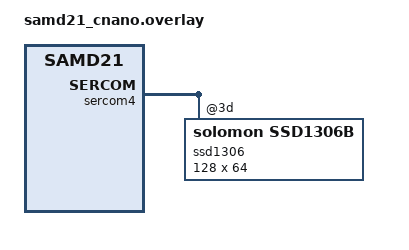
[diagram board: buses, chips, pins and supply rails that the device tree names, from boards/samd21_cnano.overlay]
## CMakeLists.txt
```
cmake_minimum_required(VERSION 3.28.0)

find_package(Zephyr)
project(snake_game)

target_sources(app PRIVATE src/main.c)
```

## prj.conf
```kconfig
CONFIG_I2C=y
CONFIG_DISPLAY=y
CONFIG_CHARACTER_FRAMEBUFFER=y
CONFIG_HEAP_MEM_POOL_SIZE=8192
CONFIG_TEST_RANDOM_GENERATOR=y
CONFIG_TIMER_RANDOM_GENERATOR=y
CONFIG_MAIN_STACK_SIZE=4000
```

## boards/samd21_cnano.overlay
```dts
/ {
	chosen {
		zephyr,display = &ssd1306;
	};

	aliases {
		i2c-controller = &sercom4;
	};
};

&sercom4 {
	ssd1306: ssd1306@3d {
		compatible = "solomon,ssd1306b";
		reg = <0x3d>;
		segment-offset = <0>;
		page-offset = <0>;
		display-offset = <0>;
		multiplex-ratio = <63>;
		prechargep = <0x22>;
		height = <64>;
		width = <128>;
		segment-remap;
		com-invdir;
	};
};
```

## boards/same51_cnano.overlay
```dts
/ {
	chosen {
		zephyr,display = &ssd1306;
	};

	aliases {
		i2c-controller = &sercom2;
	};
};

&sercom2 {
	ssd1306: ssd1306@3d {
		compatible = "solomon,ssd1306b";
		reg = <0x3d>;
		segment-offset = <0>;
		page-offset = <0>;
		display-offset = <0>;
		multiplex-ratio = <63>;
		prechargep = <0x22>;
		height = <64>;
		width = <128>;
		segment-remap;
		com-invdir;
	};
};
```

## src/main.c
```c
#include <stdbool.h>
#include <stddef.h>
#include <stdint.h>
#include <stdlib.h>
#include <zephyr/devicetree.h>
#include <zephyr/display/cfb.h>
#include <zephyr/drivers/i2c.h>
#include <zephyr/kernel.h>
#include <zephyr/random/random.h>
#include <zephyr/sleep.h>

#define IO_EXPANDER_I2C_ADDRESS (0x24)

#define IO_EXPANDER_GPIO_REGISTER (0x9)
#define IO_EXPANDER_GPPU_REGISTER (0x6)

#define IO_EXPANDER_GPIO_JOYSTICK_UP (0)
#define IO_EXPANDER_GPIO_JOYSTICK_LEFT (1)
#define IO_EXPANDER_GPIO_JOYSTICK_DOWN (2)
#define IO_EXPANDER_GPIO_JOYSTICK_RIGHT (3)
#define IO_EXPANDER_GPIO_JOYSTICK_PUSH (4)

struct node {
	uint8_t next;
	uint8_t x;
	uint8_t y;
};

uint8_t on_snake(struct node *nodes, uint8_t head, int x, int y) {
	uint8_t n = head;
	uint8_t on_snake;
	do {
		on_snake = nodes[n].x == x && nodes[n].y == y;
		n = nodes[n].next;
	} while (n != head && !on_snake);
	return on_snake;
}

void new_dot(struct node *nodes, uint8_t head, int width, int height, int *x, int *y) {
	*x = sys_rand32_get() % width;
	*y = sys_rand32_get() % height;

	for (int i = 0; i < width * height - 1 && on_snake(nodes, head, *x, *y); i++) {
		*x = (*x + 1) % width;
		*y = (*y + (*x == 0)) % height;
	}
}

int main(void)
{
	const struct device *display = DEVICE_DT_GET(DT_CHOSEN(zephyr_display));
	const struct device *i2c_controller = DEVICE_DT_GET(DT_ALIAS(i2c_controller));

	if (!device_is_ready(display)) {
		return 0;
	}

	cfb_framebuffer_init(display);

	if (cfb_framebuffer_set_font(display, 0)) {
		return 0;
	}

	uint8_t font_width, font_height;

	if (cfb_get_font_size(display, 0, &font_width, &font_height)) {
		return 0;
	}

	if (!device_is_ready(i2c_controller)) {
		return 0;
	}

	if (i2c_reg_write_byte(i2c_controller, IO_EXPANDER_I2C_ADDRESS, IO_EXPANDER_GPPU_REGISTER, ~0)) {
		return 0;
	}


	int width_pixels = cfb_get_display_parameter(display, CFB_DISPLAY_WIDTH);
	int height_pixels = cfb_get_display_parameter(display, CFB_DISPLAY_HEIGHT);

init:
	uint8_t pixels = 8;
	int width = width_pixels / pixels;
	int height = height_pixels / pixels;

	uint8_t length = 3;
#define MAX_NODES 128
	struct node nodes[MAX_NODES];

	uint8_t head = 0;
	nodes[head].x = 0;
	nodes[head].y = height / 2;
	for (size_t i = 1; i < length; i++) {
		nodes[head].next = i;

		head = nodes[head].next;
		nodes[head].x = i;
		nodes[head].y = height / 2;
	}

	nodes[head].next = 0;

	enum snake_direction {
		SNAKE_UP,
		SNAKE_LEFT,
		SNAKE_DOWN,
		SNAKE_RIGHT,
	};
	enum snake_direction snake_direction = SNAKE_RIGHT;

	int dot_x;
	int dot_y;

	new_dot(nodes, head, width, height, &dot_x, &dot_y);

	uint8_t game_over = 0;
	uint16_t score = 0;

	while (1) {
		uint8_t up = 0;
		uint8_t left = 0;
		uint8_t right = 0;
		uint8_t down = 0;
		uint8_t push = 0;

		for (int i = 0; i < 8; i++) {
			uint8_t io_gpio_register;

			if (i2c_reg_read_byte(i2c_controller, IO_EXPANDER_I2C_ADDRESS, IO_EXPANDER_GPIO_REGISTER, &io_gpio_register)) {
				return 0;
			}

			up |= !(io_gpio_register & (1 << IO_EXPANDER_GPIO_JOYSTICK_UP));
			left |= !(io_gpio_register & (1 << IO_EXPANDER_GPIO_JOYSTICK_LEFT));
			right |= !(io_gpio_register & (1 << IO_EXPANDER_GPIO_JOYSTICK_RIGHT));
			down |= !(io_gpio_register & (1 << IO_EXPANDER_GPIO_JOYSTICK_DOWN));
			push |= !(io_gpio_register & (1 << IO_EXPANDER_GPIO_JOYSTICK_PUSH));

			k_sleep(K_MSEC(25));
		}

		if (game_over) {
			if (push) {
				goto init;
			}
		} else {
			if (up && snake_direction != SNAKE_DOWN) {
				snake_direction = SNAKE_UP;
			} else if (left && snake_direction != SNAKE_RIGHT) {
				snake_direction = SNAKE_LEFT;
			} else if (right && snake_direction != SNAKE_LEFT) {
				snake_direction = SNAKE_RIGHT;
			} else if (down && snake_direction != SNAKE_UP) {
				snake_direction = SNAKE_DOWN;
			}

			int8_t offset_x = 0;
			int8_t offset_y = 0;
			switch (snake_direction) {
				case SNAKE_UP:
					offset_y = -1;
					break;
				case SNAKE_DOWN:
					offset_y = 1;
					break;
				case SNAKE_LEFT:
					offset_x = -1;
					break;
				case SNAKE_RIGHT:
					offset_x = 1;
					break;
			}

			int head_x = nodes[head].x + offset_x;
			int head_y = nodes[head].y + offset_y;

			if (on_snake(nodes, head, head_x, head_y) || head_x == -1 || head_x == width || head_y == -1 || head_y == height) {
				game_over = 1;
			} else {
				if (head_x == dot_x && head_y == dot_y) {
					if (length < MAX_NODES) {
						nodes[length].next = nodes[head].next;
						nodes[head].next = length;
						length++;
					}

					new_dot(nodes, head, width, height,  &dot_x, &dot_y);

					score++;
				}

				head = nodes[head].next;
				nodes[head].x = head_x;
				nodes[head].y = head_y;
			}
		}

		cfb_framebuffer_clear(display, false);

		if (game_over) {
			cfb_draw_text(display, "GAME OVER", 0, font_height * 0);

			char line[13];
			snprintf(line, 13, "Score: %hu", score);
			cfb_draw_text(display, line, 0, font_height * 1);
		} else {
			char line[13];
			snprintf(line, 13, "%hu", score);
			cfb_draw_text(display, line, 0, 0);

			uint8_t n = head;
			do {
				for (uint8_t y = 0; y < pixels; y++) {
					for (uint8_t x = 0; x < pixels; x++) {
						struct cfb_position position = {
							.x = nodes[n].x * pixels + x,
							.y = nodes[n].y * pixels + y,
						};
						cfb_draw_point(display, &position);
					}
				}
				n = nodes[n].next;
			} while (n != head);

			for (uint8_t y = 0; y < pixels; y++) {
				for (uint8_t x = 0; x < pixels; x++) {
					uint8_t x_distance = abs((int)(x + 1) - pixels / 2);
					uint8_t y_distance = abs((int)(y + 1) - pixels / 2);
					if (x_distance * x_distance + y_distance * y_distance < pixels * pixels / 8) {
						struct cfb_position position = {
							.x = dot_x * pixels + x,
							.y = dot_y * pixels + y,
						};
						cfb_draw_point(display, &position);
					}
				}
			}
		}

		cfb_framebuffer_finalize(display);
	}

}
```
